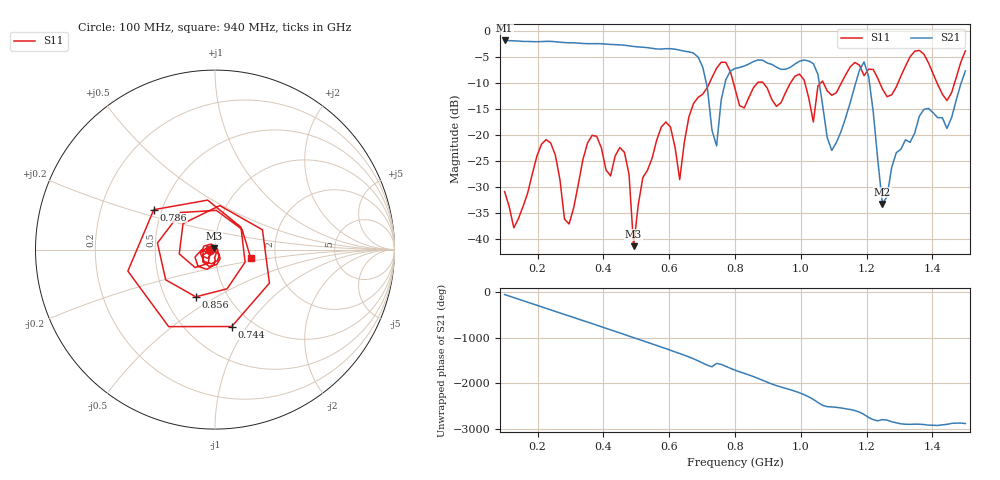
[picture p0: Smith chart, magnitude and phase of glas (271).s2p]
! NanoVNA-App
! Date: 2025-09-25 15:57:35
! Start: 100MHz Stop: 1,5GHz Points: 101
! S-Parameter data: F S11 S21 S12 S22
# Hz S RI R 50
!  Frequency  S11_Real  S11_Imag  S21_Real  S21_Imag  S12_Real  S12_Imag  S22_Real  S22_Imag
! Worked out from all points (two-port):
!   101 points, 100 MHz to 1.5 GHz, reference 50 ohm
!   highest |S21| = -1.80 dB at 100 MHz (marker M1); lowest = -33.3 dB at 1.248 GHz (marker M2)
!   |S21| within 3 dB of the highest: start of sweep to 684.2 MHz
!   lowest |S11| = -41.5 dB at 492 MHz (marker M3), VSWR 1.02, Z = 49.5 + j0.642 ohm
!   |S11| at or under -10 dB: start of sweep to 722.4 MHz; 795.3 MHz to 867.9 MHz (72.56 MHz wide, 8.73 % of centre); 886.1 MHz to 968.5 MHz (82.43 MHz wide, 8.89 % of centre)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
!   S12 and S22 are empty: the file has one direction only
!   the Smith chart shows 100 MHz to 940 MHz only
!   S11 on the Smith chart (normalised r, x): 100 MHz: 0.95, -0.01; 744 MHz: 0.80, -0.85; 786 MHz: 0.45, +0.24; 856 MHz: 0.71, -0.41; 940 MHz: 1.49, -0.15
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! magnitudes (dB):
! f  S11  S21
! 100 MHz  -30.9  -1.8
! 128 MHz  -37.9  -1.9
! 226 MHz  -20.9  -2.0
! 296 MHz  -37.2  -2.2
! 338 MHz  -24.7  -2.4
! 464 MHz  -23.4  -2.7
! 492 MHz  -41.5  -3.0
! 576 MHz  -18.5  -3.5
! 632 MHz  -28.6  -3.7
! 702 MHz  -12.2  -6.9
! 744 MHz  -7.2  -22.1
! 786 MHz  -7.8  -7.7
! 800 MHz  -11.1  -7.2
! 856 MHz  -10.9  -5.9
! 940 MHz  -13.8  -7.4
! 996 MHz  -8.3  -5.8
! 1.038 GHz  -17.5  -6.3
! 1.094 GHz  -12.4  -23.0
! 1.192 GHz  -8.6  -5.9
! 1.248 GHz  -11.2  -33.3
! 1.276 GHz  -12.3  -26.3
! 1.5 GHz  -3.8  -7.7
